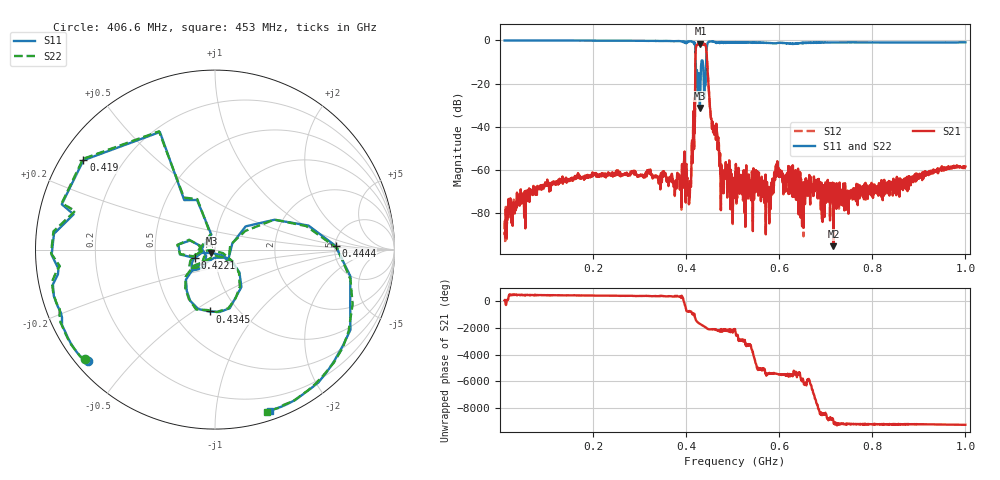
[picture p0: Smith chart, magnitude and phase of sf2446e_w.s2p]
!Keysight Technologies,E5080A,MY55200989,A.11.70.00
!Date: Friday, June 15, 2018 10:24:53
!Correction: S11(Full 2 Port(1,2))
!S21(Full 2 Port(1,2))
!S12(Full 2 Port(1,2))
!S22(Full 2 Port(1,2))
!S2P File: Measurements: S11, S21, S12, S22:
# Hz S  dB  R 50
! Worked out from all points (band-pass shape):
!   1601 points, 10 MHz to 1 GHz, reference 50 ohm
!   highest |S21| = -1.44 dB at 430.8 MHz (marker M1); lowest = -95.2 dB at 716.6 MHz (marker M2)
!   |S21| within 3 dB of the highest: 420.5 MHz to 443.4 MHz (22.88 MHz wide, 5.3 % of centre)
!   lowest |S11| = -31.2 dB at 429.5 MHz (marker M3), VSWR 1.06, Z = 48 - j1.81 ohm
!   |S11| at or under -10 dB: 420.4 MHz to 433 MHz (12.55 MHz wide, 2.94 % of centre); 435.7 MHz to 442.9 MHz (7.228 MHz wide, 1.65 % of centre)
!   |S22| runs from -32.4 to 0.0 dB; largest |S21 - S12| = 0.00073
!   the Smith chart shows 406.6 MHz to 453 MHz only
!   S11 on the Smith chart (normalised r, x): 406.6 MHz: 0.03, -0.38; 419 MHz: 0.07, +0.31; 422.1 MHz: 0.80, -0.08; 434.5 MHz: 0.75, -0.59; 444.4 MHz: 5.06, +0.38; 453 MHz: 0.07, -1.39
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1e7  -0.00 -2.8  -89.38 39.7  -87.31 46.3  0.00 -2.8
1.752062e8  -0.06 -49.0  -63.21 39.6  -63.21 39.4  -0.06 -49.3
3.404125e8  -0.24 -97.8  -64.20 -22.7  -64.09 -22.3  -0.22 -98.7
3.961e8  -0.81 -129.5  -52.46 -147.6  -52.52 -147.3  -0.82 -130.7
4.066188e8  -0.50 -138.8  -74.49 -37.8  -75.34 -36.2  -0.46 -140.0
4.140438e8  -0.59 -163.9  -56.70 133.5  -56.56 134.0  -0.60 -164.8
4.189938e8  -1.05 145.8  -34.65 -166.8  -34.63 -167.0  -0.99 145.5
4.220875e8  -18.43 -156.7  -2.28 -57.8  -2.28 -57.8  -18.17 -162.1
4.295125e8  -31.22 -136.7  -1.53 85.9  -1.53 85.9  -32.44 -173.7
4.3075e8  -18.86 -34.6  -1.44 59.2  -1.44 59.2  -18.60 -33.8
4.344625e8  -9.22 -94.9  -1.95 -13.4  -1.95 -13.4  -9.38 -97.1
4.38175e8  -20.67 -125.5  -1.78 -85.2  -1.78 -85.1  -20.99 -132.1
4.443625e8  -3.46 1.8  -7.03 109.2  -7.04 109.2  -3.33 0.6
4.53025e8  -0.43 -71.4  -35.52 35.5  -35.50 35.7  -0.44 -72.3
4.783938e8  -0.91 -102.3  -60.26 4.5  -60.32 4.2  -0.89 -103.3
5.05e8  -0.99 -115.0  -68.40 53.8  -68.21 51.9  -0.98 -116.0
5.798688e8  -1.16 -135.3  -72.15 22.8  -71.86 21.5  -1.17 -137.3
5.971938e8  -1.14 -137.9  -59.29 -64.2  -59.35 -64.5  -1.15 -139.5
6.702062e8  -1.14 -150.3  -70.19 -92.4  -70.16 -91.9  -1.07 -152.6
7.166125e8  -0.90 -160.7  -95.17 16.0  -89.34 0.7  -0.89 -162.8
8.354125e8  -0.94 177.0  -65.01 177.5  -65.34 177.0  -0.91 174.0
1e9  -0.86 150.2  -58.28 128.3  -58.32 128.5  -0.83 146.8
